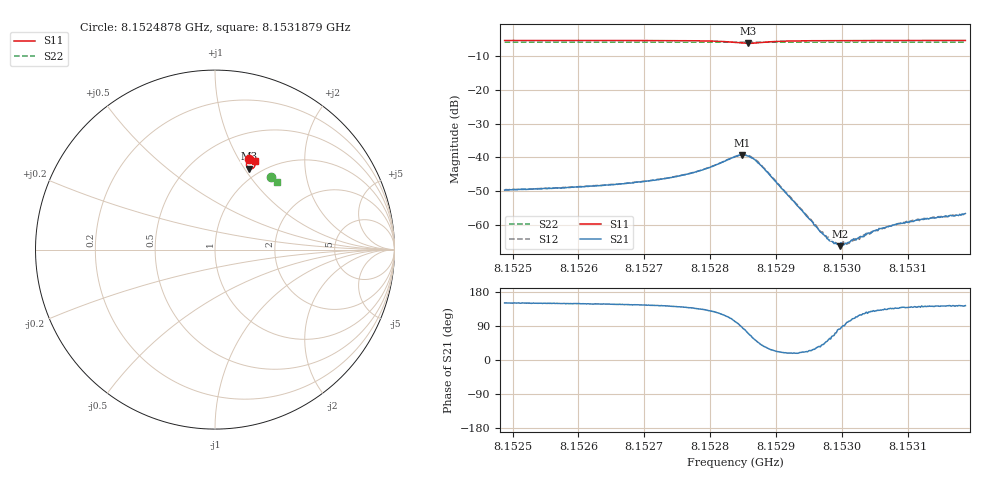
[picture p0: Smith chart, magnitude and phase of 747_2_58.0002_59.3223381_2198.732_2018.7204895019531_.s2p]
#  HZ  S  RI  R  50.00
! Rohde & Schwarz Vector Network Analyzer
! Rohde-Schwarz,ZNB20-2Port,1311601062101988,3.16
! Created: UTC 3/21/2024, 1:23:50 AM
! freq[Hz]  re:S11  im:S11  re:S21  im:S21  re:S12  im:S12  re:S22  im:S22
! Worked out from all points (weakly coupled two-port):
!   401 points, 8.1524878 GHz to 8.1531879 GHz, reference 50 ohm
!   highest |S21| = -39.25 dB at 8.1528484 GHz (marker M1); lowest = -66.3 dB at 8.1529971 GHz (marker M2)
!   lowest |S11| = -6.2 dB at 8.1528571 GHz (marker M3), VSWR 2.92, Z = 44.3 + j52.6 ohm
!   |S11| at or under -10 dB: nowhere
!   |S22| runs from -5.9 to -5.8 dB; largest |S21 - S12| = 0.00044
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8.15248782e9  0.1882 0.5065  -0.00286 0.0016  -0.00286 0.00163  0.3096 0.4066
8.15260508e9  0.1976 0.5027  -0.00314 0.00194  -0.00312 0.002  0.3155 0.4018
8.15266284e9  0.2029 0.5002  -0.0034 0.0022  -0.00337 0.00228  0.3183 0.3993
8.15272235e9  0.2094 0.4965  -0.00378 0.00279  -0.00379 0.00287  0.3212 0.3969
8.15278186e9  0.218 0.4882  -0.00447 0.00441  -0.00441 0.00446  0.3243 0.3941
8.15280986e9  0.2222 0.478  -0.00454 0.00639  -0.00452 0.00642  0.3253 0.3925
8.15283787e9  0.2159 0.457  -0.00204 0.01  -0.00205 0.0101  0.3262 0.3909
8.15284837e9  0.2041 0.4504  0.000632 0.0109  0.000659 0.0108  0.3262 0.3904
8.15285712e9  0.1908 0.4512  0.00334 0.00993  0.00349 0.0102  0.326 0.3901
8.15286762e9  0.1787 0.4612  0.00547 0.00762  0.00557 0.00765  0.3263 0.3904
8.15287812e9  0.1753 0.4739  0.00579 0.0048  0.00588 0.00492  0.3269 0.3905
8.15295513e9  0.199 0.4976  0.00101 0.000502  0.00101 0.00048  0.3316 0.3879
8.15297089e9  0.202 0.4977  0.000564 0.000483  0.00061 0.000501  0.3324 0.3872
8.15298139e9  0.2037 0.4976  0.000318 0.000489  0.00036 0.000486  0.3331 0.3867
8.15299364e9  0.2056 0.4974  9.78e-05 0.000515  0.000135 0.000506  0.3336 0.3861
8.15299714e9  0.2062 0.4974  7.12e-05 0.00048  0.00011 0.000485  0.3337 0.3859
8.15300939e9  0.2078 0.497  -9.47e-05 0.000542  -8.74e-05 0.000528  0.3344 0.3854
8.1530339e9  0.2108 0.4965  -0.000356 0.000572  -0.000383 0.000604  0.3355 0.3843
8.15304965e9  0.2125 0.4961  -0.000512 0.000645  -0.000528 0.000613  0.3364 0.3837
8.1530724e9  0.2148 0.4954  -0.000685 0.000673  -0.000671 0.000699  0.3375 0.3829
8.15312316e9  0.2194 0.4941  -0.000933 0.000769  -0.000935 0.000774  0.3398 0.3805
8.15318792e9  0.2246 0.492  -0.00119 0.000881  -0.00115 0.000884  0.343 0.3776
